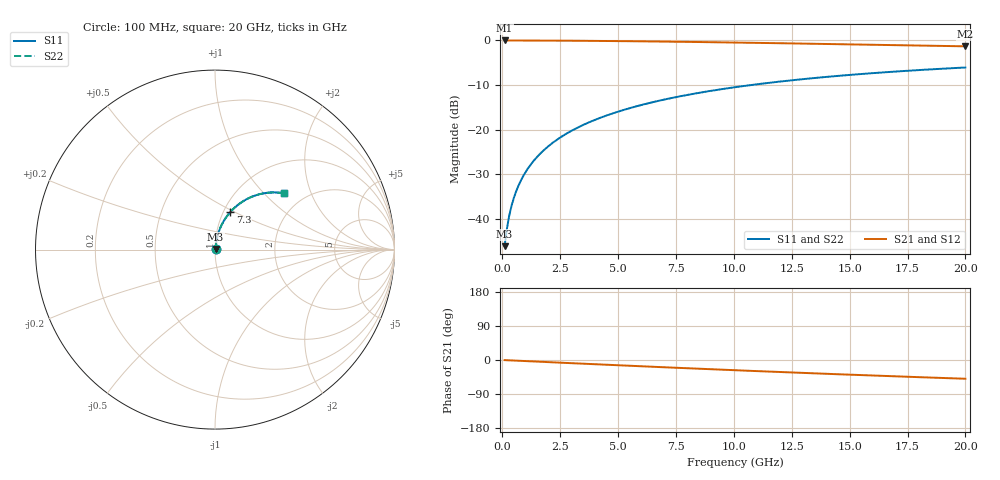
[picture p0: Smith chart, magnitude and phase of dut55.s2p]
! Touchstone file exported from HFSS 2026.1.0
!  File:  C:/ffzhzh/LocalFiles/Ansys_Project_Files/temp_train_BSMRDL_55_1782882599_13352.aedt
!  Generated:  01:11:19 PM Jul  1, 2026
!  Design:  BSMRDL
!  Project:  temp_train_BSMRDL_55_1782882599_13352
! Variables:
!  h_bsmrdl = 4.04um
!  h_ox = 20um
!  h_rdl = 5um
!  h_sub = 80um
!  h_tmrdl = 5um
!  h_tsv = 80um
!  h_via = 3um
!  l_bsmrdl = 701.92um
!  l_sub = 1101.92um
!  l_tmrdl = 200um
!  m_sub = 200um
!  pitch = 53.71um
!  r_tsv = 6um
!  s_tmrdl = 10um
!  w_bsmrdl = 18.16um
!  w_sub = 500um
!  w_tmrdl = 12um
!  x_tsv_center1 = 206um
!  x_tsv_center2 = 926.08um
!  x_tsv_center3 = 1138.08um
!  x_tsv_center4 = 1858.16um
!  x_tsv_center5 = 2070.16um
!  x_tsv_center6 = 2790.24um
# GHz S MA R 50.000000
! Terminal data exported
! Port[1] = BSM_RDL1_1_T1
! Port[2] = BSM_RDL1_1_T2
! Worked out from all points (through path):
!   200 points, 100 MHz to 20 GHz, reference 50 ohm
!   highest |S21| = -0.03 dB at 100 MHz (marker M1); lowest = -1.3 dB at 20 GHz (marker M2)
!   group delay of S21, straight-line fit = 6.88 ps
!   lowest |S11| = -46.1 dB at 100 MHz (marker M3), VSWR 1.01, Z = 50.4 + j0.347 ohm
!   |S11| at or under -10 dB: start of sweep to 10.78 GHz
!   |S22| runs from -46.1 to -6.1 dB; largest |S21 - S12| = 2.7e-15
!   S11 on the Smith chart (normalised r, x): 100 MHz: 1.01, +0.01; 7.3 GHz: 1.08, +0.47; 20 GHz: 1.58, +1.31
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0.1  0.004936 44.3  0.9965 -0.3  0.9965 -0.3  0.004936 44.3
! Gamma 0 0 0 0
! Port Impedance 50 0 50 0
0.2  0.007771 61.5  0.9963 -0.6  0.9963 -0.6  0.007771 61.5
0.3  0.01087 68.8  0.9962 -0.9  0.9962 -0.9  0.01087 68.8
0.4  0.01401 72.7  0.996 -1.2  0.996 -1.2  0.01401 72.7
0.5  0.01718 75.2  0.9959 -1.4  0.9959 -1.4  0.01718 75.2
0.6  0.02037 76.8  0.9958 -1.7  0.9958 -1.7  0.02037 76.8
0.8  0.02677 78.8  0.9955 -2.3  0.9955 -2.3  0.02677 78.8
1.1  0.03642 80.1  0.995 -3.1  0.995 -3.1  0.03642 80.1
1.5  0.04932 80.5  0.9943 -4.2  0.9943 -4.2  0.04932 80.5
1.8  0.05898 80.4  0.9936 -5.1  0.9936 -5.1  0.05897 80.4
2.1  0.0686 80.1  0.9929 -5.9  0.9929 -5.9  0.0686 80.1
2.7  0.08773 79.0  0.991 -7.6  0.991 -7.6  0.08773 79.0
3.5  0.1129 77.3  0.9879 -9.8  0.9879 -9.8  0.1129 77.3
4.2  0.1345 75.6  0.9847 -11.7  0.9847 -11.7  0.1345 75.6
5  0.1588 73.6  0.9805 -13.9  0.9805 -13.9  0.1588 73.7
6.8  0.2113 69.1  0.9693 -18.7  0.9693 -18.7  0.2113 69.1
7.3  0.2254 67.9  0.9659 -20.0  0.9659 -20.0  0.2254 67.9
8.6  0.2608 64.6  0.9562 -23.3  0.9562 -23.3  0.2608 64.7
10.1  0.2995 61.0  0.9442 -27.1  0.9442 -27.1  0.2995 61.0
13.4  0.3764 53.3  0.9155 -35.0  0.9155 -35.0  0.3764 53.3
16.7  0.4418 46.0  0.8856 -42.5  0.8856 -42.5  0.4418 46.0
20  0.496 39.2  0.8566 -49.5  0.8566 -49.5  0.4959 39.2
